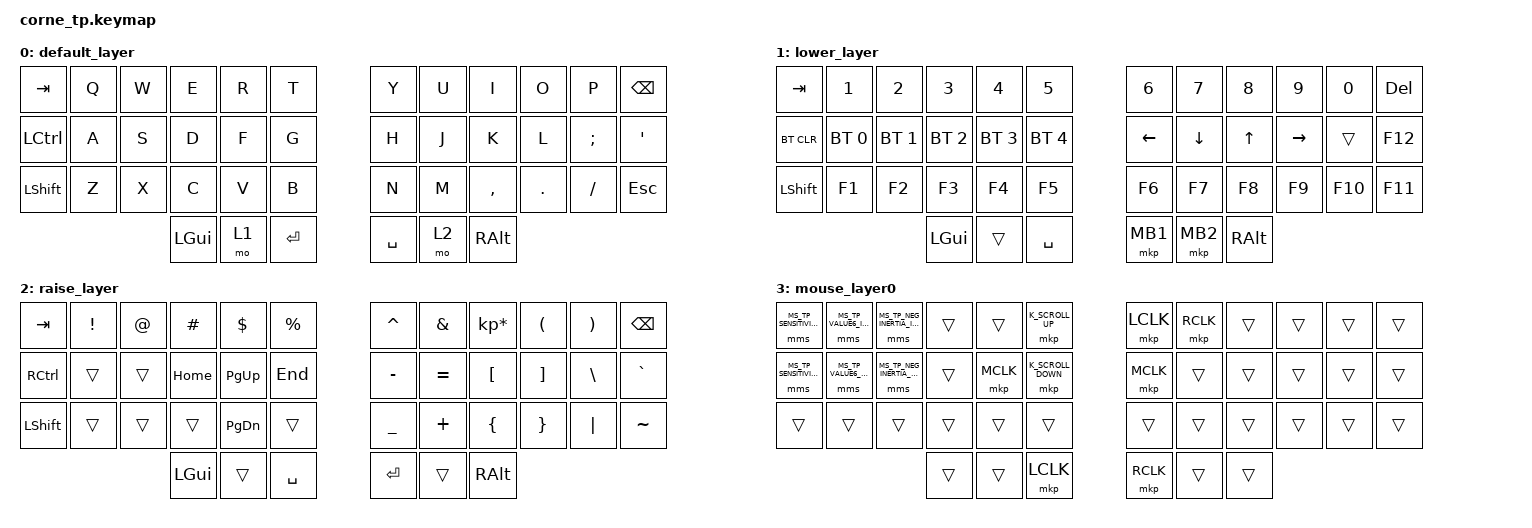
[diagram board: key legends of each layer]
/*
* Copyright (c) 2020 The ZMK Contributors
*
* SPDX-License-Identifier: MIT
*/

#include <behaviors.dtsi>
#include <dt-bindings/zmk/keys.h>
#include <dt-bindings/zmk/bt.h>


#define BASE 0
#define NUMBER 1
#define SYMBOL 2
#define MOUSE 3

#define HAS_MOUSE_TP

#ifdef HAS_MOUSE_TP
    #include "include/mouse_tp.dtsi"
#endif // HAS_MOUSE_TP

/ {


    keymap {
        compatible = "zmk,keymap";
        default_layer {
        // -----------------------------------------------------------------------------------------
        // |  TAB |  Q  |  W  |  E  |  R  |  T  |   |  Y  |  U   |  I  |  O  |  P  | BKSP |
        // | CTRL |  A  |  S  |  D  |  F  |  G  |   |  H  |  J   |  K  |  L  |  ;  |  '   |
        // | SHFT |  Z  |  X  |  C  |  V  |  B  |   |  N  |  M   |  ,  |  .  |  /  | ESC  |
        //                    | GUI | LWR | ENT |   | SPC | RSE  | ALT |
                                bindings = <
           &kp TAB   &kp Q &kp W &kp E &kp R &kp T   &kp Y &kp U  &kp I     &kp O   &kp P    &kp BSPC
           &kp LCTRL &kp A &kp S &kp D &kp F &kp G   &kp H &kp J  &kp K     &kp L   &kp SEMI &kp SQT
           &kp LSHFT &kp Z &kp X &kp C &kp V &kp B   &kp N &kp M  &kp COMMA &kp DOT &kp FSLH &kp ESC
                          &kp LGUI &mo 1 &kp RET     &kp SPACE &mo 2 &kp RALT
                        >;
                };
        lower_layer {
        // -----------------------------------------------------------------------------------------
        // |  TAB |  1  |  2  |  3  |  4  |  5  |   |  6  |  7  |  8  |  9  |  0  | DEL  |
        // | BTCLR| BT1 | BT2 | BT3 | BT4 | BT5 |   | LFT | DWN |  UP | RGT | SEC | F12  |
        // | SHFT |  F1 | F2  | F3  | F4  | F5  |   |  F6 | F7  | F8  | F9  | F10 | F11  |
        //                    | GUI |     | SPC |   | ENT |     | ALT |
                                bindings = <
           &kp TAB    &kp N1       &kp N2       &kp N3       &kp N4       &kp N5         &kp N6   &kp N7   &kp N8 &kp N9    &kp N0 &kp DEL
           &bt BT_CLR &bt BT_SEL 0 &bt BT_SEL 1 &bt BT_SEL 2 &bt BT_SEL 3 &bt BT_SEL 4   &kp LEFT &kp DOWN &kp UP &kp RIGHT &trans &kp F12
           &kp LSHFT  &kp F1       &kp F2       &kp F3       &kp F4       &kp F5         &kp F6   &kp F7   &kp F8 &kp F9    &kp F10 &kp F11
                          	        &kp LGUI     &trans       &kp SPACE      &mkp MB1 &mkp MB2 &kp RALT
                        >;
                };
        raise_layer {
        // -----------------------------------------------------------------------------------------
        // |  TAB |  !  |  @  |  #  |  $  |  %  |   |  ^  |  &  |  *  |  (  |  )  | BKSP |
        // | CTRL |     |     | HOM | PGU | END |   |  -  |  =  |  [  |  ]  |  \  |  `   |
        // | SHFT |     |     |     | PGD |     |   |  _  |  +  |  {  |  }  | "|" |  ~   |
        //                    | GUI |     | SPC |   | ENT |     | ALT |
                                bindings = <
           &kp  TAB  &kp EXCL &kp AT &kp HASH &kp DLLR &kp PRCNT   &kp CARET &kp AMPS  &kp KP_MULTIPLY &kp LPAR &kp RPAR &kp BSPC
           &kp RCTRL &trans   &trans &kp HOME &kp PG_UP &kp END      &kp MINUS &kp EQUAL &kp LBKT        &kp RBKT &kp BSLH &kp GRAVE
           &kp LSHFT &trans   &trans &trans   &kp PG_DN   &trans      &kp UNDER &kp PLUS  &kp LBRC        &kp RBRC &kp PIPE &kp TILDE
                    	        &kp LGUI &trans   &kp SPACE   &kp RET   &trans    &kp RALT
                        >;
                };
        mouse_layer0 {
                        // -----------------------------------------------------------------------------------------
        //   |      |     |     |     |     |     |               |     |     |     |     |     |      |
        //   |      |     |     |     |     |     |               |     |     |     |     |     |      |
        //   |      |     |     |     |     |     |               |     |     |     |     |     |      |
        //                      |     |     |     |               |     |     |     |
                                bindings = <
        &mms MS_TP_SENSITIVITY_INCR  &mms MS_TP_VALUE6_INCR &mms MS_TP_NEG_INERTIA_INCR &trans &trans    &mkp K_SCROLL_UP     &mkp LCLK &mkp RCLK &trans &trans &trans &trans
        &mms MS_TP_SENSITIVITY_DECR  &mms MS_TP_VALUE6_DECR &mms MS_TP_NEG_INERTIA_DECR &trans &mkp MCLK &mkp K_SCROLL_DOWN   &mkp MCLK &trans    &trans &trans &trans &trans
        &trans                       &trans                 &trans                      &trans &trans    &trans               &trans    &trans    &trans &trans &trans &trans
                                                                                        &trans &trans    &mkp LCLK            &mkp RCLK &trans &trans
                        >;
                };


    }; 

};
